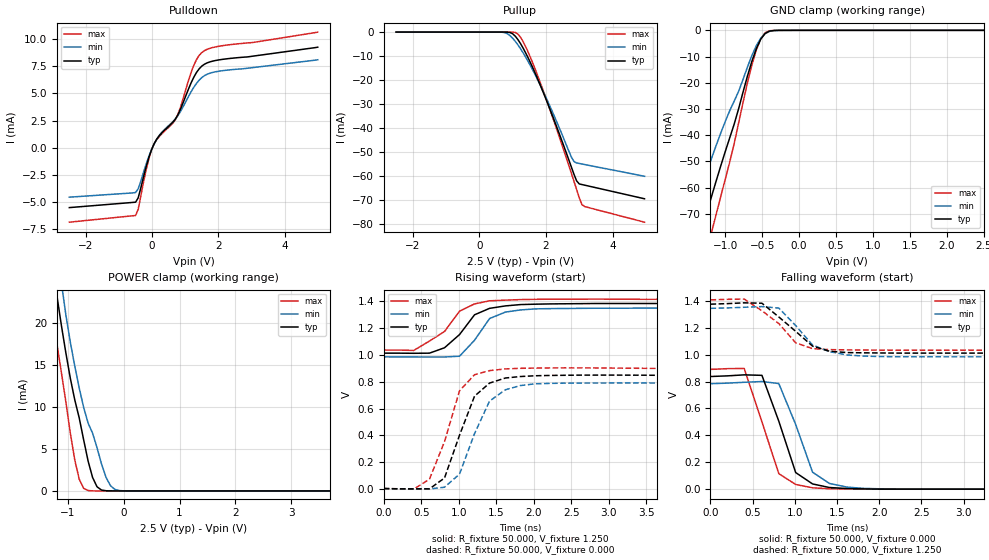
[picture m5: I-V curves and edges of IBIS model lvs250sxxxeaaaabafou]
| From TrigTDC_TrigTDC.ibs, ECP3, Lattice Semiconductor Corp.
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[Model]   lvs250sxxxeaaaabafou
Model_type   Output
Polarity   Non-Inverting
Enable   Active-Low
Vmeas =   1.2500V
Cref =   3.0000pF
Rref =   50.0000
Vref =   1.2500V
C_comp   2.7pF   2.2pF   3.2pF
[Temperature Range]   25.0000   0.1050k   -40.0000
[Voltage Range]   2.5000V   2.3800V   2.6300V
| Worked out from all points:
|   slope of the pulldown table from 0 to 0.375 V, typ, clamps not added: 224 ohm
|   GND clamp passes 1 mA (typ) near -0.45 V on its own axis
|   POWER clamp passes 1 mA (typ) near -0.52 V on its own axis
|   rising waveform, R_fixture 50.000, V_fixture 1.250: 20-80 % time 359ps typ, 304ps min, 413ps max; typ from 1.01 V to 1.38 V
|   rising waveform, R_fixture 50.000, V_fixture 0.000: 20-80 % time 330ps typ, 346ps min, 313ps max; typ from 0.006 V to 0.838 V
|   falling waveform, R_fixture 50.000, V_fixture 0.000: 20-80 % time 274ps typ, 279ps min, 280ps max; typ from 0.838 V to 0 V
|   falling waveform, R_fixture 50.000, V_fixture 1.250: 20-80 % time 406ps typ, 348ps min, 387ps max; typ from 1.38 V to 1.01 V
[Pulldown]
|Voltage   I(typ)   I(min)   I(max)
-2.5V     -5.492mA   -4.533mA   -6.833mA
-500mV    -4.994mA   -4.103mA   -6.216mA
-420mV    -4.592mA   -3.755mA   -5.64mA
-180mV    -1.727mA   -1.484mA   -2.003mA
-20mV     -188.6uA   -173.5uA   -201uA
220mV     1.138mA    1.16mA     1.06mA
700mV     2.64mA     2.649mA    2.584mA
860mV     3.584mA    3.363mA    3.776mA
1.26V     6.507mA    5.58mA     7.602mA
1.5V      7.518mA    6.463mA    8.765mA
2.06V     8.11mA     7.069mA    9.365mA
5V        9.258mA    8.099mA    10.65mA
[Pullup]
|Voltage   I(typ)   I(min)   I(max)
-2.5V     -10uA      -11uA      -10uA
680mV     -12.84uA   -58.64uA   -12.46uA
1V        -722uA     -2.585mA   -31.92uA
1.16V     -3.189mA   -5.399mA   -851.4uA
1.4V      -8.967mA   -10.69mA   -6.384mA
1.72V     -18.6mA    -19.09mA   -17.11mA
2.2V      -35.14mA   -33.53mA   -35.63mA
2.76V     -56.27mA   -52.12mA   -58.88mA
2.84V     -59.38mA   -54.06mA   -62.31mA
2.92V     -62.16mA   -54.68mA   -65.77mA
3.08V     -63.7mA    -55.12mA   -72.1mA
4.96V     -69.65mA   -60.25mA   -79.43mA
[GND_clamp]
|Voltage   I(typ)   I(min)   I(max)
-2.5V     -577.5mA   -564.1mA   -590.5mA
-1.42V    -92.08mA   -80.68mA   -105.6mA
-1.3V     -74.72mA   -59.22mA   -90.17mA
-1.18V    -62.84mA   -48.38mA   -76.5mA
-1.12V    -57.16mA   -43.65mA   -69.84mA
-940mV    -41.05mA   -30.7mA    -50.31mA
-820mV    -30mA      -23.34mA   -35.48mA
-640mV    -11.85mA   -9.652mA   -13.3mA
-520mV    -3.4mA     -3.033mA   -3.248mA
-460mV    -1.199mA   -1.234mA   -920.9uA
-280mV    -21.74uA   -34.67uA   -16.59uA
2.5V      0A         0A         0A
[POWER_clamp]
|Voltage   I(typ)   I(min)   I(max)
-2.48V    124.9mA    102.5mA    134.5mA
-1.36V    32.3mA     38.16mA    25.39mA
-1.28V    27.24mA    33.51mA    21.29mA
-1.2V     23.23mA    29.02mA    17.5mA
-1.12V    19.71mA    24.79mA    14.1mA
-880mV    10.84mA    14.86mA    3.692mA
-800mV    8.686mA    12.25mA    1.4mA
-640mV    3.538mA    8.06mA     47.54uA
-480mV    487.9uA    5.126mA    984.8nA
-320mV    20.48uA    1.632mA    42.33nA
-80mV     92.79nA    41.37uA    28.94nA
5V        -36.28nA   -54.82nA   -198.9nA
[Ramp]
| variable   typ   min   max
dV/dt_r  0.5339/0.3303n   0.5000/0.3458n   0.5638/0.3130n
dV/dt_f  0.2692/0.3933n   0.2315/0.4766n   0.3105/0.3476n
R_load = 50.0000
[Rising Waveform]
R_fixture = 50.000
V_fixture = 1.250
V_fixture_min = 1.188
V_fixture_max = 1.313
|  time   V(typ)   V(min)   V(max)
0s        1.012V     984.7mV    1.035V
400ps     1.011V     983.9mV    1.032V
610ps     1.012V     983.2mV    1.102V
810ps     1.052V     983.6mV    1.173V
1.01ns    1.15V      989.2mV    1.324V
1.21ns    1.297V     1.108V     1.378V
1.41ns    1.345V     1.269V     1.401V
1.62ns    1.363V     1.317V     1.406V
1.82ns    1.373V     1.333V     1.41V
20ns      1.376V     1.345V     1.408V
[Rising Waveform]
R_fixture = 50.000
V_fixture = 0.000
V_fixture_min = 0.000
V_fixture_max = 0.000
|  time   V(typ)   V(min)   V(max)
0s        5.687mV    5.458mV    6.144mV
400ps     3.269mV    3.085mV    1.075mV
610ps     3.503mV    2.702mV    75.16mV
810ps     83.96mV    15.47mV    354mV
1.01ns    402.2mV    113mV      732.2mV
1.21ns    692.2mV    414.1mV    851.9mV
1.41ns    789.5mV    655.6mV    882mV
1.62ns    827.1mV    739.7mV    894.7mV
2.63ns    848.7mV    789.8mV    902.5mV
20ns      838.2mV    784.9mV    891.1mV
[Falling Waveform]
R_fixture = 50.000
V_fixture = 0.000
V_fixture_min = 0.000
V_fixture_max = 0.000
|  time   V(typ)   V(min)   V(max)
0s        837.8mV    784.5mV    890.8mV
400ps     850.2mV    795mV      897.7mV
610ps     846.6mV    800.7mV    500.3mV
810ps     505.6mV    785.5mV    115.3mV
1.01ns    123.5mV    481.1mV    34.73mV
1.21ns    38.9mV     126.2mV    9.967mV
1.41ns    12.23mV    42.49mV    3.052mV
1.62ns    4.509mV    15.1mV     1.057mV
2.22ns    252uV      237uV      94.65uV
20ns      2.686uV    3.595uV    1.952uV
[Falling Waveform]
R_fixture = 50.000
V_fixture = 1.250
V_fixture_min = 1.188
V_fixture_max = 1.313
|  time   V(typ)   V(min)   V(max)
0s        1.376V     1.345V     1.408V
400ps     1.386V     1.353V     1.414V
610ps     1.383V     1.358V     1.327V
810ps     1.281V     1.347V     1.232V
1.01ns    1.174V     1.217V     1.089V
1.21ns    1.064V     1.072V     1.045V
1.41ns    1.026V     1.023V     1.038V
1.62ns    1.016V     998mV      1.036V
2.22ns    1.012V     984.7mV    1.034V
20ns      1.012V     984.7mV    1.035V
